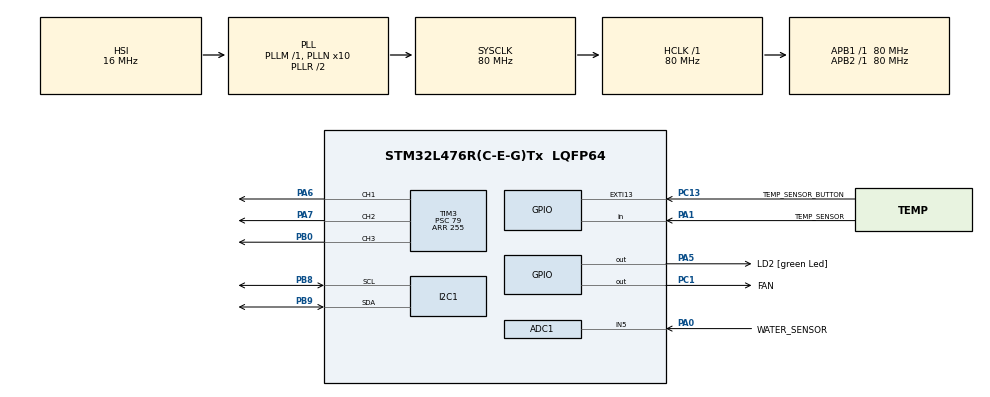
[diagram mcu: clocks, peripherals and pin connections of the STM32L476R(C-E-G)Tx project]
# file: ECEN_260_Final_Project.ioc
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ADC1.Channel-0\#ChannelRegularConversion=ADC_CHANNEL_5
ADC1.ContinuousConvMode=DISABLE
ADC1.NbrOfConversionFlag=1
ADC1.OffsetNumber-0\#ChannelRegularConversion=ADC_OFFSET_NONE
ADC1.Rank-0\#ChannelRegularConversion=1
ADC1.SamplingTime-0\#ChannelRegularConversion=ADC_SAMPLETIME_2CYCLES_5
ADC1.master=1
I2C1.Timing=0x10D19CE4
Mcu.Family=STM32L4
Mcu.Name=STM32L476R(C-E-G)Tx
Mcu.Package=LQFP64
NVIC.EXTI15_10_IRQn=true\:0\:0\:false\:false\:true\:true\:true\:true
NVIC.PriorityGroup=NVIC_PRIORITYGROUP_4
PA0.GPIO_Label=WATER_SENSOR
PA0.Signal=ADCx_IN5
PA1.GPIO_Label=TEMP_SENSOR
PA1.GPIO_PuPd=GPIO_NOPULL
PA1.Signal=GPIO_Input
PA13\ (JTMS-SWDIO).GPIO_Label=TMS
PA13\ (JTMS-SWDIO).Mode=Serial_Wire
PA13\ (JTMS-SWDIO).Signal=SYS_JTMS-SWDIO
PA14\ (JTCK-SWCLK).GPIO_Label=TCK
PA14\ (JTCK-SWCLK).Mode=Serial_Wire
PA14\ (JTCK-SWCLK).Signal=SYS_JTCK-SWCLK
PA5.GPIO_Label=LD2 [green Led]
PA5.Signal=GPIO_Output
PA6.Signal=S_TIM3_CH1
PA7.Signal=S_TIM3_CH2
PB0.Signal=S_TIM3_CH3
PB3\ (JTDO-TRACESWO).GPIO_Label=SWO
PB3\ (JTDO-TRACESWO).Signal=SYS_JTDO-SWO
PB8.GPIO_Pu=GPIO_PULLUP
PB8.Mode=I2C
PB8.Signal=I2C1_SCL
PB9.GPIO_Pu=GPIO_PULLUP
PB9.Mode=I2C
PB9.Signal=I2C1_SDA
PC1.GPIO_Label=FAN
PC1.GPIO_PuPd=GPIO_PULLDOWN
PC1.Signal=GPIO_Output
PC13.GPIO_Label=TEMP_SENSOR_BUTTON
PC13.GPIO_ModeDefaultEXTI=GPIO_MODE_IT_FALLING
PC13.GPIO_PuPd=GPIO_NOPULL
PC13.Signal=GPXTI13
PC14-OSC32_IN\ (PC14).Mode=LSE-External-Oscillator
PC14-OSC32_IN\ (PC14).Signal=RCC_OSC32_IN
PC15-OSC32_OUT\ (PC15).Mode=LSE-External-Oscillator
PC15-OSC32_OUT\ (PC15).Signal=RCC_OSC32_OUT
PH0-OSC_IN\ (PH0).Signal=RCC_OSC_IN
PH1-OSC_OUT\ (PH1).Signal=RCC_OSC_OUT
ProjectManager.HeapSize=0x200
ProjectManager.StackSize=0x400
ProjectManager.TargetToolchain=STM32CubeIDE
RCC.ADCFreq_Value=64000000
RCC.AHBFreq_Value=80000000
RCC.APB1Freq_Value=80000000
RCC.APB1TimFreq_Value=80000000
RCC.APB2Freq_Value=80000000
RCC.APB2TimFreq_Value=80000000
RCC.CortexFreq_Value=80000000
RCC.HCLKFreq_Value=80000000
RCC.HSE_VALUE=8000000
RCC.HSI_VALUE=16000000
RCC.MSI_VALUE=4000000
RCC.PLLN=10
RCC.PLLSourceVirtual=RCC_PLLSOURCE_HSI
RCC.SYSCLKFreq_VALUE=80000000
RCC.SYSCLKSource=RCC_SYSCLKSOURCE_PLLCLK
RCC.USBFreq_Value=64000000
RCC.VCOOutputFreq_Value=160000000
SH.ADCx_IN5.0=ADC1_IN5,IN5-Single-Ended
SH.S_TIM3_CH1.0=TIM3_CH1,PWM Generation1 CH1
SH.S_TIM3_CH2.0=TIM3_CH2,PWM Generation2 CH2
SH.S_TIM3_CH3.0=TIM3_CH3,PWM Generation3 CH3
TIM2.Period=65535
TIM2.Prescaler=79
TIM3.AutoReloadPreload=TIM_AUTORELOAD_PRELOAD_ENABLE
TIM3.Channel-PWM\ Generation1\ CH1=TIM_CHANNEL_1
TIM3.Channel-PWM\ Generation2\ CH2=TIM_CHANNEL_2
TIM3.Channel-PWM\ Generation3\ CH3=TIM_CHANNEL_3
TIM3.Period=255
TIM3.Prescaler=79
VP_TIM2_VS_ClockSourceINT.Mode=Internal
board=NUCLEO-L476RG

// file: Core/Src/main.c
/* USER CODE BEGIN Header */
/**
  ******************************************************************************
  * @file           : main.c
  * @brief          : Main program body
  ******************************************************************************
  * @attention
  *
  * Copyright (c) 2026 STMicroelectronics.
  * All rights reserved.
  *
  * This software is licensed under terms that can be found in the LICENSE file
  * in the root directory of this software component.
  * If no LICENSE file comes with this software, it is provided AS-IS.
  *
  ******************************************************************************
  */
/* USER CODE END Header */
#include "main.h"

/* USER CODE BEGIN Includes */
#include <stdio.h>
/* USER CODE END Includes */

/* USER CODE BEGIN PM */
// 1602 I2C address
// 1602 I2C address
#define I2C_ADDR 0x27 // I2C address of the PCF8574
// 1602 dimensions
#define LCD_ROWS 2 // Number of rows on the LCD
#define LCD_COLS 16 // Number of columns on the LCD
// 1602 message bit numbers
#define DC_BIT 0 // Data/Command bit (register select bit)
#define EN_BIT 2 // Enable bit
#define BL_BIT 3 // Back light bit
#define D4_BIT 4 // Data 4 bit
#define D5_BIT 5 // Data 5 bit
#define D6_BIT 6 // Data 6 bit
#define D7_BIT 7 // Data 7 bit
/* USER CODE END PM */

ADC_HandleTypeDef hadc1;

I2C_HandleTypeDef hi2c1;

TIM_HandleTypeDef htim2;
TIM_HandleTypeDef htim3;

/* USER CODE BEGIN PV */
uint32_t rawADC = 0;
uint32_t percentage = 0;
char rawADCString[20];
char lcdBuffer[20];
uint8_t alertToggle = 0;

volatile uint8_t buttonPressed = 0;

typedef enum {
    DISPLAY_WATER = 0,
    DISPLAY_TEMP  = 1
} DisplayMode_t;

volatile DisplayMode_t displayMode = DISPLAY_WATER;

uint32_t lastDHTReadTick = 0;
uint8_t dhtValid = 0;

uint8_t Rh = 0;
uint8_t Temp = 0;

/* USER CODE END PV */

void SystemClock_Config(void);
static void MX_GPIO_Init(void);
static void MX_I2C1_Init(void);
static void MX_ADC1_Init(void);
static void MX_TIM2_Init(void);
static void MX_TIM3_Init(void);
/* USER CODE BEGIN PFP */
void CharLCD_Write_Nibble (uint8_t nibble, uint8_t dc);
void CharLCD_Send_Cmd(uint8_t cmd);
void CharLCD_Send_Data(uint8_t data);
void CharLCD_Init();
void CharLCD_Write_String(char *str);
void CharLCD_Set_Cursor(uint8_t row, uint8_t column);
void CharLCD_Clear(void);
uint8_t DHT11_Start(void);
uint8_t DHT11_Read(void);
void delay_us(uint16_t us);

void DHT11_Update(void);
/* USER CODE END PFP */

int main(void)
{

  /* MCU Configuration--------------------------------------------------------*/

  /* Reset of all peripherals, Initializes the Flash interface and the Systick. */
  HAL_Init();

  /* Configure the system clock */
  SystemClock_Config();

  /* Initialize all configured peripherals */
  MX_GPIO_Init();
  MX_I2C1_Init();
  MX_ADC1_Init();
  MX_TIM2_Init();
  MX_TIM3_Init();
  /* USER CODE BEGIN 2 */
  // Test display
    // Start the microsecond timer for DHT11 sensor timing
    HAL_TIM_Base_Start(&htim2);

    // Start the PWM channels for the RGB LED
    HAL_TIM_PWM_Start(&htim3, TIM_CHANNEL_1); // Red
    HAL_TIM_PWM_Start(&htim3, TIM_CHANNEL_2); // Green
    HAL_TIM_PWM_Start(&htim3, TIM_CHANNEL_3); // Blue

    // Start the ADC for the water level sensor
    HAL_ADC_Start(&hadc1);

    // 2. INITIALIZE DISPLAY
    CharLCD_Init();
    CharLCD_Set_Cursor(0,0);
    CharLCD_Write_String("ECEN_260");
    CharLCD_Set_Cursor(1,0);
    CharLCD_Write_String("FINAL_PROJ");

    // Show splash screen for 3 seconds
    HAL_Delay(3000);

    // Clear the screen so it's ready for the live data loop
    CharLCD_Clear();
  /* USER CODE END 2 */

  /* Infinite loop */
  /* USER CODE BEGIN WHILE */
  while (1)
  {

	  // Handle button press: toggle display mode
	  if (buttonPressed)
	  {
		  buttonPressed = 0;

		  if (displayMode == DISPLAY_WATER)
			  displayMode = DISPLAY_TEMP;
		  else
			  displayMode = DISPLAY_WATER;

		  CharLCD_Clear();
	  }

	  // --- READ WATER SENSOR OFTEN ---
	  HAL_ADC_Start(&hadc1);
	  if (HAL_ADC_PollForConversion(&hadc1, 10) == HAL_OK)
	  {
		  rawADC = HAL_ADC_GetValue(&hadc1);
		  percentage = (rawADC * 100) / 4095;   // 12-bit ADC should use 4095
		  if (percentage > 100) percentage = 100;
	  }
	  HAL_ADC_Stop(&hadc1);

	  // --- UPDATE DHT11 PERIODICALLY ---
	  // DHT11 shouldn't be read too fast; about once every 1-2 seconds is safe
	  if (HAL_GetTick() - lastDHTReadTick >= 2000)
	        {
	            lastDHTReadTick = HAL_GetTick();
	            DHT11_Update();
	        }

	        // --- FAST RGB LOGIC (Outside the 2-second timer) ---
	        if (dhtValid)
	        {
	            if (Temp > 25) // TOO HOT: Blink Red every 200ms
	            {

	            	// TURN MOTOR ON (PC1 High)
	            	HAL_GPIO_WritePin(FAN_GPIO_Port, FAN_Pin, GPIO_PIN_SET);

	                if (alertToggle)
	                {
	                    __HAL_TIM_SET_COMPARE(&htim3, TIM_CHANNEL_1, 255); // Red ON
	                }
	                else
	                {
	                    __HAL_TIM_SET_COMPARE(&htim3, TIM_CHANNEL_1, 0);   // Red OFF
	                }
	                __HAL_TIM_SET_COMPARE(&htim3, TIM_CHANNEL_2, 0);       // Green OFF
	                __HAL_TIM_SET_COMPARE(&htim3, TIM_CHANNEL_3, 0);       // Blue OFF

	                alertToggle = !alertToggle; // Flip the bit for the next 200ms loop
	            }
	            else if (Temp <= 25 && Temp >= 11) // SAFE: Solid Green
	            {

	            	HAL_GPIO_WritePin(FAN_GPIO_Port, FAN_Pin, GPIO_PIN_RESET); // Fan OFF

	                __HAL_TIM_SET_COMPARE(&htim3, TIM_CHANNEL_1, 0);
	                __HAL_TIM_SET_COMPARE(&htim3, TIM_CHANNEL_2, 255);
	                __HAL_TIM_SET_COMPARE(&htim3, TIM_CHANNEL_3, 0);
	                alertToggle = 0;
	            }
	            else if (Temp < 11) // TOO COLD: Solid Blue
	            {

	            	// TURN MOTOR ON (PC1 High)
					HAL_GPIO_WritePin(FAN_GPIO_Port, FAN_Pin, GPIO_PIN_RESET);

	                __HAL_TIM_SET_COMPARE(&htim3, TIM_CHANNEL_1, 0);
	                __HAL_TIM_SET_COMPARE(&htim3, TIM_CHANNEL_2, 0);
	                __HAL_TIM_SET_COMPARE(&htim3, TIM_CHANNEL_3, 255);
	                alertToggle = 0;
	            }
	        }

	  // --- DISPLAY ONLY ONE SENSOR AT A TIME ---
	  switch (displayMode)
	  {
		  case DISPLAY_WATER:
			  CharLCD_Set_Cursor(0,0);
			  CharLCD_Write_String("Water Sensor    ");

			  snprintf(lcdBuffer, sizeof(lcdBuffer), "Level: %3lu%%    ", percentage);
			  CharLCD_Set_Cursor(1,0);
			  CharLCD_Write_String(lcdBuffer);
			  break;

		  case DISPLAY_TEMP:
			  CharLCD_Set_Cursor(0,0);
			  CharLCD_Write_String("Temp/Humidity   ");

			  if (dhtValid)
			  {
				  snprintf(lcdBuffer, sizeof(lcdBuffer), "T:%02dC H:%02d%%   ", Temp, Rh);
			  }
			  else
			  {
				  snprintf(lcdBuffer, sizeof(lcdBuffer), "Sensor Error!   ");
			  }

			  CharLCD_Set_Cursor(1,0);
			  CharLCD_Write_String(lcdBuffer);
			  break;
	  }

    /* USER CODE END WHILE */

    /* USER CODE BEGIN 3 */
      HAL_Delay(200);
  }
  /* USER CODE END 3 */
}

void SystemClock_Config(void)
{
  RCC_OscInitTypeDef RCC_OscInitStruct = {0};
  RCC_ClkInitTypeDef RCC_ClkInitStruct = {0};

  /** Configure the main internal regulator output voltage
  */
  if (HAL_PWREx_ControlVoltageScaling(PWR_REGULATOR_VOLTAGE_SCALE1) != HAL_OK)
  {
    Error_Handler();
  }

  /** Initializes the RCC Oscillators according to the specified parameters
  * in the RCC_OscInitTypeDef structure.
  */
  RCC_OscInitStruct.OscillatorType = RCC_OSCILLATORTYPE_HSI;
  RCC_OscInitStruct.HSIState = RCC_HSI_ON;
  RCC_OscInitStruct.HSICalibrationValue = RCC_HSICALIBRATION_DEFAULT;
  RCC_OscInitStruct.PLL.PLLState = RCC_PLL_ON;
  RCC_OscInitStruct.PLL.PLLSource = RCC_PLLSOURCE_HSI;
  RCC_OscInitStruct.PLL.PLLM = 1;
  RCC_OscInitStruct.PLL.PLLN = 10;
  RCC_OscInitStruct.PLL.PLLP = RCC_PLLP_DIV7;
  RCC_OscInitStruct.PLL.PLLQ = RCC_PLLQ_DIV2;
  RCC_OscInitStruct.PLL.PLLR = RCC_PLLR_DIV2;
  if (HAL_RCC_OscConfig(&RCC_OscInitStruct) != HAL_OK)
  {
    Error_Handler();
  }

  /** Initializes the CPU, AHB and APB buses clocks
  */
  RCC_ClkInitStruct.ClockType = RCC_CLOCKTYPE_HCLK|RCC_CLOCKTYPE_SYSCLK
                              |RCC_CLOCKTYPE_PCLK1|RCC_CLOCKTYPE_PCLK2;
  RCC_ClkInitStruct.SYSCLKSource = RCC_SYSCLKSOURCE_PLLCLK;
  RCC_ClkInitStruct.AHBCLKDivider = RCC_SYSCLK_DIV1;
  RCC_ClkInitStruct.APB1CLKDivider = RCC_HCLK_DIV1;
  RCC_ClkInitStruct.APB2CLKDivider = RCC_HCLK_DIV1;

  if (HAL_RCC_ClockConfig(&RCC_ClkInitStruct, FLASH_LATENCY_4) != HAL_OK)
  {
    Error_Handler();
  }
}

static void MX_ADC1_Init(void)
{

  ADC_MultiModeTypeDef multimode = {0};
  ADC_ChannelConfTypeDef sConfig = {0};

  /** Common config
  */
  hadc1.Instance = ADC1;
  hadc1.Init.ClockPrescaler = ADC_CLOCK_ASYNC_DIV1;
  hadc1.Init.Resolution = ADC_RESOLUTION_12B;
  hadc1.Init.DataAlign = ADC_DATAALIGN_RIGHT;
  hadc1.Init.ScanConvMode = ADC_SCAN_DISABLE;
  hadc1.Init.EOCSelection = ADC_EOC_SINGLE_CONV;
  hadc1.Init.LowPowerAutoWait = DISABLE;
  hadc1.Init.ContinuousConvMode = DISABLE;
  hadc1.Init.NbrOfConversion = 1;
  hadc1.Init.DiscontinuousConvMode = DISABLE;
  hadc1.Init.ExternalTrigConv = ADC_SOFTWARE_START;
  hadc1.Init.ExternalTrigConvEdge = ADC_EXTERNALTRIGCONVEDGE_NONE;
  hadc1.Init.DMAContinuousRequests = DISABLE;
  hadc1.Init.Overrun = ADC_OVR_DATA_PRESERVED;
  hadc1.Init.OversamplingMode = DISABLE;
  if (HAL_ADC_Init(&hadc1) != HAL_OK)
  {
    Error_Handler();
  }

  /** Configure the ADC multi-mode
  */
  multimode.Mode = ADC_MODE_INDEPENDENT;
  if (HAL_ADCEx_MultiModeConfigChannel(&hadc1, &multimode) != HAL_OK)
  {
    Error_Handler();
  }

  /** Configure Regular Channel
  */
  sConfig.Channel = ADC_CHANNEL_5;
  sConfig.Rank = ADC_REGULAR_RANK_1;
  sConfig.SamplingTime = ADC_SAMPLETIME_2CYCLES_5;
  sConfig.SingleDiff = ADC_SINGLE_ENDED;
  sConfig.OffsetNumber = ADC_OFFSET_NONE;
  sConfig.Offset = 0;
  if (HAL_ADC_ConfigChannel(&hadc1, &sConfig) != HAL_OK)
  {
    Error_Handler();
  }

}

static void MX_I2C1_Init(void)
{

  hi2c1.Instance = I2C1;
  hi2c1.Init.Timing = 0x10D19CE4;
  hi2c1.Init.OwnAddress1 = 0;
  hi2c1.Init.AddressingMode = I2C_ADDRESSINGMODE_7BIT;
  hi2c1.Init.DualAddressMode = I2C_DUALADDRESS_DISABLE;
  hi2c1.Init.OwnAddress2 = 0;
  hi2c1.Init.OwnAddress2Masks = I2C_OA2_NOMASK;
  hi2c1.Init.GeneralCallMode = I2C_GENERALCALL_DISABLE;
  hi2c1.Init.NoStretchMode = I2C_NOSTRETCH_DISABLE;
  if (HAL_I2C_Init(&hi2c1) != HAL_OK)
  {
    Error_Handler();
  }

  /** Configure Analogue filter
  */
  if (HAL_I2CEx_ConfigAnalogFilter(&hi2c1, I2C_ANALOGFILTER_ENABLE) != HAL_OK)
  {
    Error_Handler();
  }

  /** Configure Digital filter
  */
  if (HAL_I2CEx_ConfigDigitalFilter(&hi2c1, 0) != HAL_OK)
  {
    Error_Handler();
  }

}

static void MX_TIM2_Init(void)
{

  TIM_ClockConfigTypeDef sClockSourceConfig = {0};
  TIM_MasterConfigTypeDef sMasterConfig = {0};

  htim2.Instance = TIM2;
  htim2.Init.Prescaler = 79;
  htim2.Init.CounterMode = TIM_COUNTERMODE_UP;
  htim2.Init.Period = 65535;
  htim2.Init.ClockDivision = TIM_CLOCKDIVISION_DIV1;
  htim2.Init.AutoReloadPreload = TIM_AUTORELOAD_PRELOAD_DISABLE;
  if (HAL_TIM_Base_Init(&htim2) != HAL_OK)
  {
    Error_Handler();
  }
  sClockSourceConfig.ClockSource = TIM_CLOCKSOURCE_INTERNAL;
  if (HAL_TIM_ConfigClockSource(&htim2, &sClockSourceConfig) != HAL_OK)
  {
    Error_Handler();
  }
  sMasterConfig.MasterOutputTrigger = TIM_TRGO_RESET;
  sMasterConfig.MasterSlaveMode = TIM_MASTERSLAVEMODE_DISABLE;
  if (HAL_TIMEx_MasterConfigSynchronization(&htim2, &sMasterConfig) != HAL_OK)
  {
    Error_Handler();
  }

}

static void MX_TIM3_Init(void)
{

  TIM_MasterConfigTypeDef sMasterConfig = {0};
  TIM_OC_InitTypeDef sConfigOC = {0};

  htim3.Instance = TIM3;
  htim3.Init.Prescaler = 79;
  htim3.Init.CounterMode = TIM_COUNTERMODE_UP;
  htim3.Init.Period = 255;
  htim3.Init.ClockDivision = TIM_CLOCKDIVISION_DIV1;
  htim3.Init.AutoReloadPreload = TIM_AUTORELOAD_PRELOAD_ENABLE;
  if (HAL_TIM_PWM_Init(&htim3) != HAL_OK)
  {
    Error_Handler();
  }
  sMasterConfig.MasterOutputTrigger = TIM_TRGO_RESET;
  sMasterConfig.MasterSlaveMode = TIM_MASTERSLAVEMODE_DISABLE;
  if (HAL_TIMEx_MasterConfigSynchronization(&htim3, &sMasterConfig) != HAL_OK)
  {
    Error_Handler();
  }
  sConfigOC.OCMode = TIM_OCMODE_PWM1;
  sConfigOC.Pulse = 0;
  sConfigOC.OCPolarity = TIM_OCPOLARITY_HIGH;
  sConfigOC.OCFastMode = TIM_OCFAST_DISABLE;
  if (HAL_TIM_PWM_ConfigChannel(&htim3, &sConfigOC, TIM_CHANNEL_1) != HAL_OK)
  {
    Error_Handler();
  }
  if (HAL_TIM_PWM_ConfigChannel(&htim3, &sConfigOC, TIM_CHANNEL_2) != HAL_OK)
  {
    Error_Handler();
  }
  if (HAL_TIM_PWM_ConfigChannel(&htim3, &sConfigOC, TIM_CHANNEL_3) != HAL_OK)
  {
    Error_Handler();
  }
  HAL_TIM_MspPostInit(&htim3);

}

static void MX_GPIO_Init(void)
{
  GPIO_InitTypeDef GPIO_InitStruct = {0};

  /* GPIO Ports Clock Enable */
  __HAL_RCC_GPIOC_CLK_ENABLE();
  __HAL_RCC_GPIOH_CLK_ENABLE();
  __HAL_RCC_GPIOA_CLK_ENABLE();
  __HAL_RCC_GPIOB_CLK_ENABLE();

  /*Configure GPIO pin Output Level */
  HAL_GPIO_WritePin(FAN_GPIO_Port, FAN_Pin, GPIO_PIN_RESET);

  /*Configure GPIO pin Output Level */
  HAL_GPIO_WritePin(LD2_GPIO_Port, LD2_Pin, GPIO_PIN_RESET);

  /*Configure GPIO pin : TEMP_SENSOR_BUTTON_Pin */
  GPIO_InitStruct.Pin = TEMP_SENSOR_BUTTON_Pin;
  GPIO_InitStruct.Mode = GPIO_MODE_IT_FALLING;
  GPIO_InitStruct.Pull = GPIO_NOPULL;
  HAL_GPIO_Init(TEMP_SENSOR_BUTTON_GPIO_Port, &GPIO_InitStruct);

  /*Configure GPIO pin : FAN_Pin */
  GPIO_InitStruct.Pin = FAN_Pin;
  GPIO_InitStruct.Mode = GPIO_MODE_OUTPUT_PP;
  GPIO_InitStruct.Pull = GPIO_PULLDOWN;
  GPIO_InitStruct.Speed = GPIO_SPEED_FREQ_LOW;
  HAL_GPIO_Init(FAN_GPIO_Port, &GPIO_InitStruct);

  /*Configure GPIO pin : TEMP_SENSOR_Pin */
  GPIO_InitStruct.Pin = TEMP_SENSOR_Pin;
  GPIO_InitStruct.Mode = GPIO_MODE_INPUT;
  GPIO_InitStruct.Pull = GPIO_NOPULL;
  HAL_GPIO_Init(TEMP_SENSOR_GPIO_Port, &GPIO_InitStruct);

  /*Configure GPIO pin : LD2_Pin */
  GPIO_InitStruct.Pin = LD2_Pin;
  GPIO_InitStruct.Mode = GPIO_MODE_OUTPUT_PP;
  GPIO_InitStruct.Pull = GPIO_NOPULL;
  GPIO_InitStruct.Speed = GPIO_SPEED_FREQ_LOW;
  HAL_GPIO_Init(LD2_GPIO_Port, &GPIO_InitStruct);

  /* EXTI interrupt init*/
  HAL_NVIC_SetPriority(EXTI15_10_IRQn, 0, 0);
  HAL_NVIC_EnableIRQ(EXTI15_10_IRQn);

}

/* USER CODE BEGIN 4 */
/**
 * @brief Write a 4-bit nibble to the LCD via I2C
 * @param nibble: 4-bit data to send (lower 4 bits)
 * @param dc: data/command (1 = data, 0 = command)
 * @retval None
 */
void CharLCD_Write_Nibble(uint8_t nibble, uint8_t dc) {
 uint8_t data = nibble << D4_BIT; // Shift nibble to D4-D7 position
 data |= dc << DC_BIT; // Set DC bit for data/command selection
 data |= 1 << BL_BIT; // Include backlight state in data
 data |= 1 << EN_BIT; // Set enable bit high
 HAL_I2C_Master_Transmit(&hi2c1, I2C_ADDR << 1, &data, 1, 100); // Send data with EN high
 HAL_Delay(1); // Wait for data setup
 data &= ~(1 << EN_BIT); // Clear enable bit (falling edge triggers LCD)
 HAL_I2C_Master_Transmit(&hi2c1, I2C_ADDR << 1, &data, 1, 100); // Send data with EN low
}

/**
 * @brief Send command to LCD
 * @param cmd: 8-bit command to send to LCD controller
 * @retval None
 */
void CharLCD_Send_Cmd(uint8_t cmd) {
 uint8_t upper_nibble = cmd >> 4; // Extract upper 4 bits
 uint8_t lower_nibble = cmd & 0x0F; // Extract lower 4 bits
 CharLCD_Write_Nibble(upper_nibble, 0); // Send upper nibble (DC=0 for command)
 CharLCD_Write_Nibble(lower_nibble, 0); // Send lower nibble (DC=0 for command)
 if (cmd == 0x01 || cmd == 0x02) { // Clear display or return home commands
 HAL_Delay(2); // These commands need extra time
 }
}

/**
 * @brief Send data (character) to LCD
 * @param data: 8-bit character data to display
 * @retval None
 */
void CharLCD_Send_Data(uint8_t data) {
 uint8_t upper_nibble = data >> 4; // Extract upper 4 bits
 uint8_t lower_nibble = data & 0x0F; // Extract lower 4 bits
 CharLCD_Write_Nibble(upper_nibble, 1); // Send upper nibble (DC=1 for data)
 CharLCD_Write_Nibble(lower_nibble, 1); // Send lower nibble (DC=1 for data)
}
/**
 * @brief Initialize LCD in 4-bit mode via I2C
 * @param None
 * @retval None
 */
void CharLCD_Init() {
 HAL_Delay(50); // Wait for LCD power-on reset (>40ms)
 CharLCD_Write_Nibble(0x03, 0); // Function set: 8-bit mode (first attempt)
 HAL_Delay(5); // Wait >4.1ms
 CharLCD_Write_Nibble(0x03, 0); // Function set: 8-bit mode (second attempt)
 HAL_Delay(1); // Wait >100us
 CharLCD_Write_Nibble(0x03, 0); // Function set: 8-bit mode (third attempt)
 HAL_Delay(1); // Wait >100us
 CharLCD_Write_Nibble(0x02, 0); // Function set: switch to 4-bit mode
 CharLCD_Send_Cmd(0x28); // Function set: 4-bit, 2 lines, 5x8 font
 CharLCD_Send_Cmd(0x0C); // Display control: display on/cursor off/blink off
 CharLCD_Send_Cmd(0x06); // Entry mode: increment cursor, no shift
 CharLCD_Send_Cmd(0x01); // Clear display
 HAL_Delay(2); // Wait for clear display command
}
/**
 * @brief Write string to LCD at current cursor position
 * @param str: Pointer to null-terminated string
 * @retval None
 */
void CharLCD_Write_String(char *str) {
 while (*str) { // Loop until null terminator
 CharLCD_Send_Data(*str++); // Send each character and increment pointer
 }
}
/**
 * @brief Set cursor position on LCD
 * @param row: Row number (0 or 1 for 2-line display)
 * @param column: Column number (0 to display width - 1)
 * @retval None
 */
void CharLCD_Set_Cursor(uint8_t row, uint8_t column) {
 uint8_t address;
 switch (row) {
 case 0:
 address = 0x00; break; // First line starts at address 0x00
 case 1:
 address = 0x40; break; // Second line starts at address 0x40
 default:
 address = 0x00; // Default to first line for invalid row
 }
 address += column; // Add column offset
 CharLCD_Send_Cmd(0x80 | address); // Set DDRAM address command (0x80 + address)
}
/**
 * @brief Clear LCD display and return cursor to home position
 * @param None
 * @retval None
 */
void CharLCD_Clear(void) {
 CharLCD_Send_Cmd(0x01); // Clear display command
 HAL_Delay(2); // Wait for command execution
}

void HAL_GPIO_EXTI_Callback(uint16_t GPIO_Pin)
{
    if (GPIO_Pin == TEMP_SENSOR_BUTTON_Pin) // Match the label in CubeMX
    {
    	buttonPressed = 1; // for button/display state machine code
        HAL_GPIO_TogglePin(LD2_GPIO_Port, LD2_Pin); // Uses the standard LD2 label
    }
}

void delay_us(uint16_t us) {
    __HAL_TIM_SET_COUNTER(&htim2, 0);
    while (__HAL_TIM_GET_COUNTER(&htim2) < us);
}

uint8_t DHT11_Start(void) {
    uint8_t Response = 0;
    GPIO_InitTypeDef GPIO_InitStruct = {0};
    GPIO_InitStruct.Pin = TEMP_SENSOR_Pin;
    GPIO_InitStruct.Mode = GPIO_MODE_OUTPUT_PP;
    GPIO_InitStruct.Speed = GPIO_SPEED_FREQ_LOW;
    HAL_GPIO_Init(TEMP_SENSOR_GPIO_Port, &GPIO_InitStruct);
    HAL_GPIO_WritePin(TEMP_SENSOR_GPIO_Port, TEMP_SENSOR_Pin, 0);
    HAL_Delay(18);
    HAL_GPIO_WritePin(TEMP_SENSOR_GPIO_Port, TEMP_SENSOR_Pin, 1);
    delay_us(20);
    GPIO_InitStruct.Mode = GPIO_MODE_INPUT;
    HAL_GPIO_Init(TEMP_SENSOR_GPIO_Port, &GPIO_InitStruct);
    delay_us(40);
    if (!(HAL_GPIO_ReadPin(TEMP_SENSOR_GPIO_Port, TEMP_SENSOR_Pin))) {
        delay_us(80);
        if ((HAL_GPIO_ReadPin(TEMP_SENSOR_GPIO_Port, TEMP_SENSOR_Pin))) Response = 1;
    }
    while ((HAL_GPIO_ReadPin(TEMP_SENSOR_GPIO_Port, TEMP_SENSOR_Pin)));
    return Response;
}

uint8_t DHT11_Read(void) {
    uint8_t i = 0, j;
    for (j = 0; j < 8; j++) {
        while (!(HAL_GPIO_ReadPin(TEMP_SENSOR_GPIO_Port, TEMP_SENSOR_Pin)));
        delay_us(40);
        if (!(HAL_GPIO_ReadPin(TEMP_SENSOR_GPIO_Port, TEMP_SENSOR_Pin))) i &= ~(1 << (7 - j));
        else i |= (1 << (7 - j));
        while ((HAL_GPIO_ReadPin(TEMP_SENSOR_GPIO_Port, TEMP_SENSOR_Pin)));
    }
    return i;
}

void DHT11_Update(void)
{
    if (DHT11_Start())
    {
        uint8_t rh_byte1   = DHT11_Read();
        uint8_t rh_byte2   = DHT11_Read();
        uint8_t temp_byte1 = DHT11_Read();
        uint8_t temp_byte2 = DHT11_Read();
        uint8_t checksum   = DHT11_Read();

        if (checksum == (uint8_t)(rh_byte1 + rh_byte2 + temp_byte1 + temp_byte2))
        {
            Rh = rh_byte1;
            Temp = temp_byte1;
            dhtValid = 1;
        }
        else
        {
            dhtValid = 0;
        }
    }
    else
    {
        dhtValid = 0;
    }
}
/* USER CODE END 4 */

void Error_Handler(void)
{
  __disable_irq();
  while (1)
  {
  }
}
